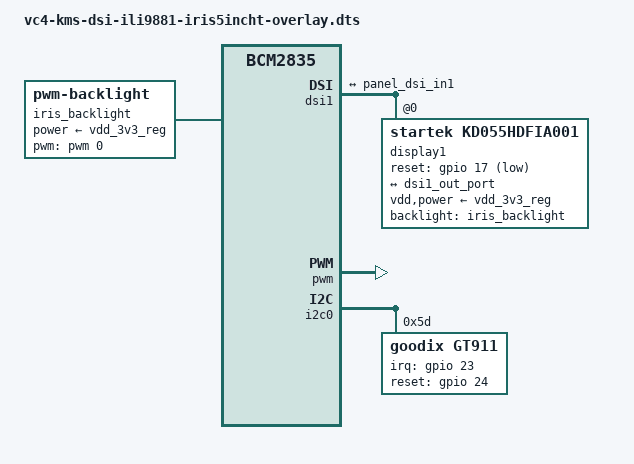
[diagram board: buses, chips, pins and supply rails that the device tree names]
/dts-v1/;
/plugin/;

#include <dt-bindings/gpio/gpio.h>

/ {
    compatible = "brcm,bcm2835";

    fragment@0 {
        target=<&dsi1>;

        __overlay__ {
            status = "okay";
            #address-cells = <1>;
            #size-cells = <0>;

            port {
                dsi1_out_port: endpoint {
                    remote-endpoint = <&panel_dsi_in1>;
                };
            };

            display1: panel@0 {
                compatible = "startek,kd055hdfia001";
                reg=<0>;
                backlight = <&iris_backlight>;
                vdd-supply = <&vdd_3v3_reg>;
                power-supply = <&vdd_3v3_reg>;
                reset-gpios = <&gpio 17 1>;
                port {
                    panel_dsi_in1: endpoint {
                        remote-endpoint = <&dsi1_out_port>;
                    };
                };
            };
        };
    };

    fragment@1 {
        target-path = "/";
        __overlay__ {
            iris_backlight: iris_backlight {
                compatible = "pwm-backlight";
                brightness-levels = <0 6 8 12 16 24 32 40 48 64 96 128 160 192 224 255>;
                default-brightness-level = <64>;
                pwms = <&pwm 0 200000 0>;
                power-supply = <&vdd_3v3_reg>;
                status = "okay";
            };
        };
    };
    
    fragment@2 {
        target = <&pwm>;
        frag1: __overlay__ {
            pinctrl-names = "default";
            pinctrl-0 = <&pwm_pins>;
            assigned-clock-rates = <1000000>;
            status = "okay";
        };
    };

    fragment@3 {
        target = <&gpio>;
        __overlay__ {
            pwm_pins: pwm_pins {
                brcm,pins = <12>; // rpi40pin = PIN No. 32
                brcm,function = <4>; // ALT0 = 4 ,  ALT5 = 2 
            };
        };
    };

    fragment@4 {
      target = <&i2c0>;
        __overlay__ {
          #address-cells = <1>;
          #size-cells = <0>;
          status = "okay";

          //gt911: gt911@14 {
          gt911: gt911@5d {
            status = "okay";
            compatible = "goodix,gt911";
            //reg = <0x14>;
            reg = <0x5d>;
            pinctrl-names = "default";
            pinctrl-0 = <&goodix_pins>;
            interrupt-parent = <&gpio>;
            interrupts = <23 2>; // high-to-low edge triggered
            irq-gpios = <&gpio 23 0>;
            reset-gpios = <&gpio 24 0>;
            touchscreen-size-x = <720>;
            touchscreen-size-y = <1280>;
          };
        };
    };

    fragment@5 {
      target = <&gpio>;
      __overlay__ {
        goodix_pins: goodix_pins {
          brcm,pins = <23 24>; // interrupt and reset
          brcm,function = <0 0>; // in
          brcm,pull = <2 2>; // pull-up
        };
      };
    };

    fragment@6 {
      target = <&i2c0mux>;
      __overlay__ {
          pinctrl-0 = <&i2c0_gpio44>;
      };
    };

};
